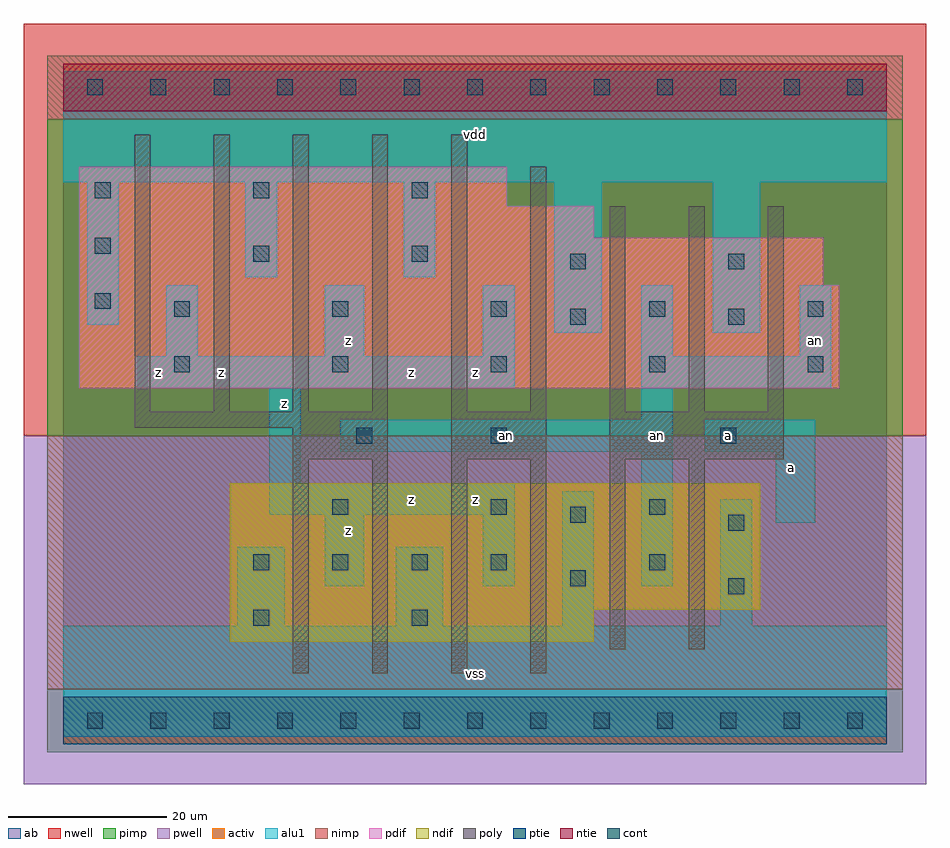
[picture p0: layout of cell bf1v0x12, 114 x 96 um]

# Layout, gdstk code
import gdstk
lib = gdstk.Library(unit=1e-6, precision=1e-09)
def R(c, l, rs):  # rectangles x0, y0, x1, y1
    for r in rs: c.add(gdstk.rectangle(r[:2], r[2:], *l))
def A(c, l, x, y, w, h, nx, ny, dx, dy):  # array of equal rectangles
    R(c, l, [(x+i*dx, y+j*dy, x+i*dx+w, y+j*dy+h) for i in range(nx) for j in range(ny)])
ndif = (3, 0)
pdif = (4, 0)
ntie = (5, 0)
ptie = (6, 0)
cont = (25, 0)
pwell = (41, 0)
nwell = (42, 0)
activ = (43, 0)
pimp = (44, 0)
nimp = (45, 0)
poly = (46, 0)
alu1 = (49, 0)
ab = (63, 0)

bf1v0x12 = lib.new_cell('bf1v0x12')
R(bf1v0x12, ndif, [(21,10,67,14), (21,14,88,30)])
R(bf1v0x12, pdif, [(2,42,98,55), (2,55,96,61), (2,61,67,65), (2,65,56,70)])
R(bf1v0x12, ntie, [(0,77,104,83)])
R(bf1v0x12, ptie, [(0,-3,104,3)])
A(bf1v0x12, cont, 3, -1, 2, 2, 13, 2, 8, 80)
A(bf1v0x12, cont, 24, 19, 2, 2, 4, 1, 10, 0)
A(bf1v0x12, cont, 34, 26, 2, 2, 3, 1, 20, 0)
A(bf1v0x12, cont, 14, 44, 2, 2, 5, 2, 20, 7)
A(bf1v0x12, cont, 4, 66, 2, 2, 3, 1, 20, 0)
R(bf1v0x12, cont, [(24,12,26,14), (44,12,46,14), (84,16,86,18), (64,17,66,19), (74,19,76,21), (84,24,86,26), (64,25,66,27), (37,35,39,37), (54,35,56,37), (83,35,85,37), (64,50,66,52), (84,50,86,52), (4,52,6,54), (64,57,66,59), (84,57,86,59), (24,58,26,60), (44,58,46,60), (4,59,6,61)])
R(bf1v0x12, pwell, [(-5,-8,109,36)])
R(bf1v0x12, nwell, [(-5,36,109,88)])
R(bf1v0x12, activ, [(0,-3,104,3), (21,10,67,14), (21,14,88,30), (2,42,98,55), (2,55,96,61), (2,61,67,65), (2,65,56,70), (0,77,104,83)])
R(bf1v0x12, pimp, [(-2,-4,106,4), (-2,36,106,76)])
R(bf1v0x12, nimp, [(-2,4,106,36), (-2,76,106,84)])
A(bf1v0x12, poly, 29, 6, 2, 27, 4, 1, 10, 0)
A(bf1v0x12, poly, 9, 39, 2, 35, 5, 1, 10, 0)
A(bf1v0x12, poly, 69, 39, 2, 26, 3, 1, 10, 0)
R(bf1v0x12, poly, [(69,9,71,33), (79,9,81,33), (29,33,41,37), (49,33,61,39), (69,33,91,39), (9,37,41,39), (59,39,61,70)])
A(bf1v0x12, alu1, 53, 46, 4, 9, 3, 1, 20, 0)
R(bf1v0x12, alu1, [(0,-2,104,12), (22,12,28,22), (42,12,48,22), (63,12,67,29), (83,12,87,28), (33,17,38,26), (53,17,57,26), (73,17,77,34), (90,25,95,34), (26,26,57,30), (26,30,30,42), (35,34,77,38), (81,34,95,38), (73,38,77,42), (9,42,57,46), (73,42,97,46), (13,46,17,55), (33,46,38,55), (62,49,68,68), (82,49,88,68), (3,50,7,68), (23,56,27,68), (43,56,47,68), (0,68,104,82)])
R(bf1v0x12, ab, [(0,0,104,80)])
bf1v0x12.add(gdstk.Label('an', (56,36), layer=49, texttype=0))
bf1v0x12.add(gdstk.Label('an', (75,36), layer=49, texttype=0))
bf1v0x12.add(gdstk.Label('an', (95,48), layer=49, texttype=0))
bf1v0x12.add(gdstk.Label('z', (20,44), layer=49, texttype=0))
bf1v0x12.add(gdstk.Label('z', (12,44), layer=49, texttype=0))
bf1v0x12.add(gdstk.Label('z', (44,28), layer=49, texttype=0))
bf1v0x12.add(gdstk.Label('z', (36,24), layer=49, texttype=0))
bf1v0x12.add(gdstk.Label('z', (44,44), layer=49, texttype=0))
bf1v0x12.add(gdstk.Label('z', (28,40), layer=49, texttype=0))
bf1v0x12.add(gdstk.Label('z', (36,48), layer=49, texttype=0))
bf1v0x12.add(gdstk.Label('vss', (52,6), layer=49, texttype=0))
bf1v0x12.add(gdstk.Label('z', (52,28), layer=49, texttype=0))
bf1v0x12.add(gdstk.Label('z', (52,44), layer=49, texttype=0))
bf1v0x12.add(gdstk.Label('vdd', (52,74), layer=49, texttype=0))
bf1v0x12.add(gdstk.Label('a', (92,32), layer=49, texttype=0))
bf1v0x12.add(gdstk.Label('a', (84,36), layer=49, texttype=0))

lib.write_gds('bf1v0x12.gds')
